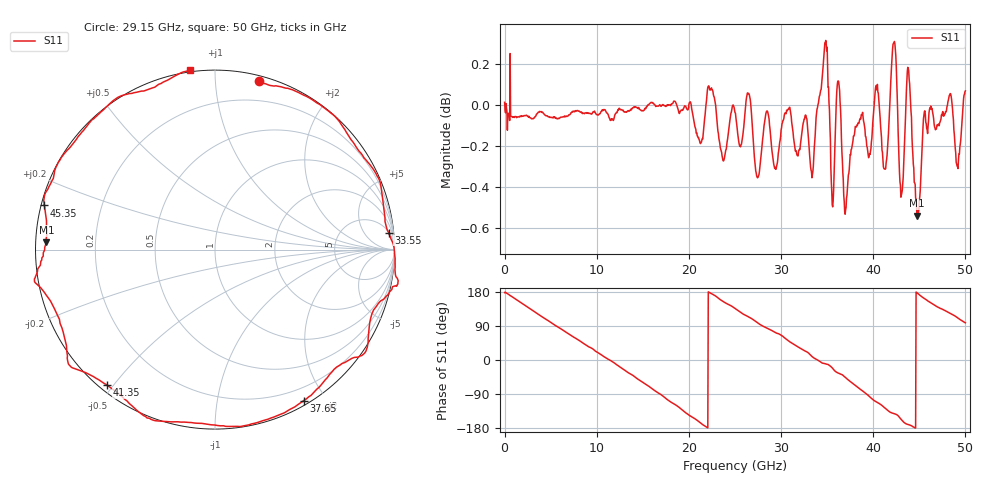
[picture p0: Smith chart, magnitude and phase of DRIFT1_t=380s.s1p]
!Created with skrf (http://scikit-rf.org).
# Hz S RI R 50.0
!freq ReS11 ImS11
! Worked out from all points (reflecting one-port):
!   1001 points, 300 kHz to 50 GHz, reference 50 ohm
!   lowest |S11| = -0.5 dB at 44.75 GHz (marker M1), VSWR 32.29, Z = 1.55 + j1.1 ohm
!   phase of S11 starts at 178 deg and turns -800 deg over the sweep
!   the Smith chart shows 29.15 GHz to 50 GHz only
!   S11 on the Smith chart (normalised r, x): 29.15 GHz: 0.04, +1.29; 33.55 GHz: 6, +19; 37.65 GHz: 0.05, -1.75; 41.35 GHz: 0.02, -0.48; 45.35 GHz: 0.01, +0.13; 50 GHz: -0.01, +0.87
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300000  -1.001 0.0387
1.75029e9  -0.8743 0.472
3.650278e9  -0.5089 0.8562
6.250262e9  0.1731 0.9781
7.950252e9  0.5899 0.8036
9.850241e9  0.9136 0.3956
1.250022e10  0.9475 -0.3125
1.400022e10  0.7417 -0.6685
1.59002e10  0.279 -0.9618
1.875019e10  -0.5238 -0.8504
2.015018e10  -0.8486 -0.5323
2.205017e10  -1.01 -0.015
2.500015e10  -0.7197 0.6882
2.660014e10  -0.3775 0.9309
2.915013e10  0.2435 0.9382
3.125011e10  0.7179 0.677
3.35501e10  0.9669 0.095
3.500009e10  1.013 -0.203
3.750008e10  0.5349 -0.8124
3.765007e10  0.4942 -0.8413
3.915007e10  0.047 -0.9814
4.135005e10  -0.6023 -0.754
4.245005e10  -0.8211 -0.6183
4.375004e10  -1.006 -0.1771
4.475003e10  -0.939 0.0413
4.535003e10  -0.951 0.246
4.715002e10  -0.7326 0.6636
5e10  -0.142 0.9979
